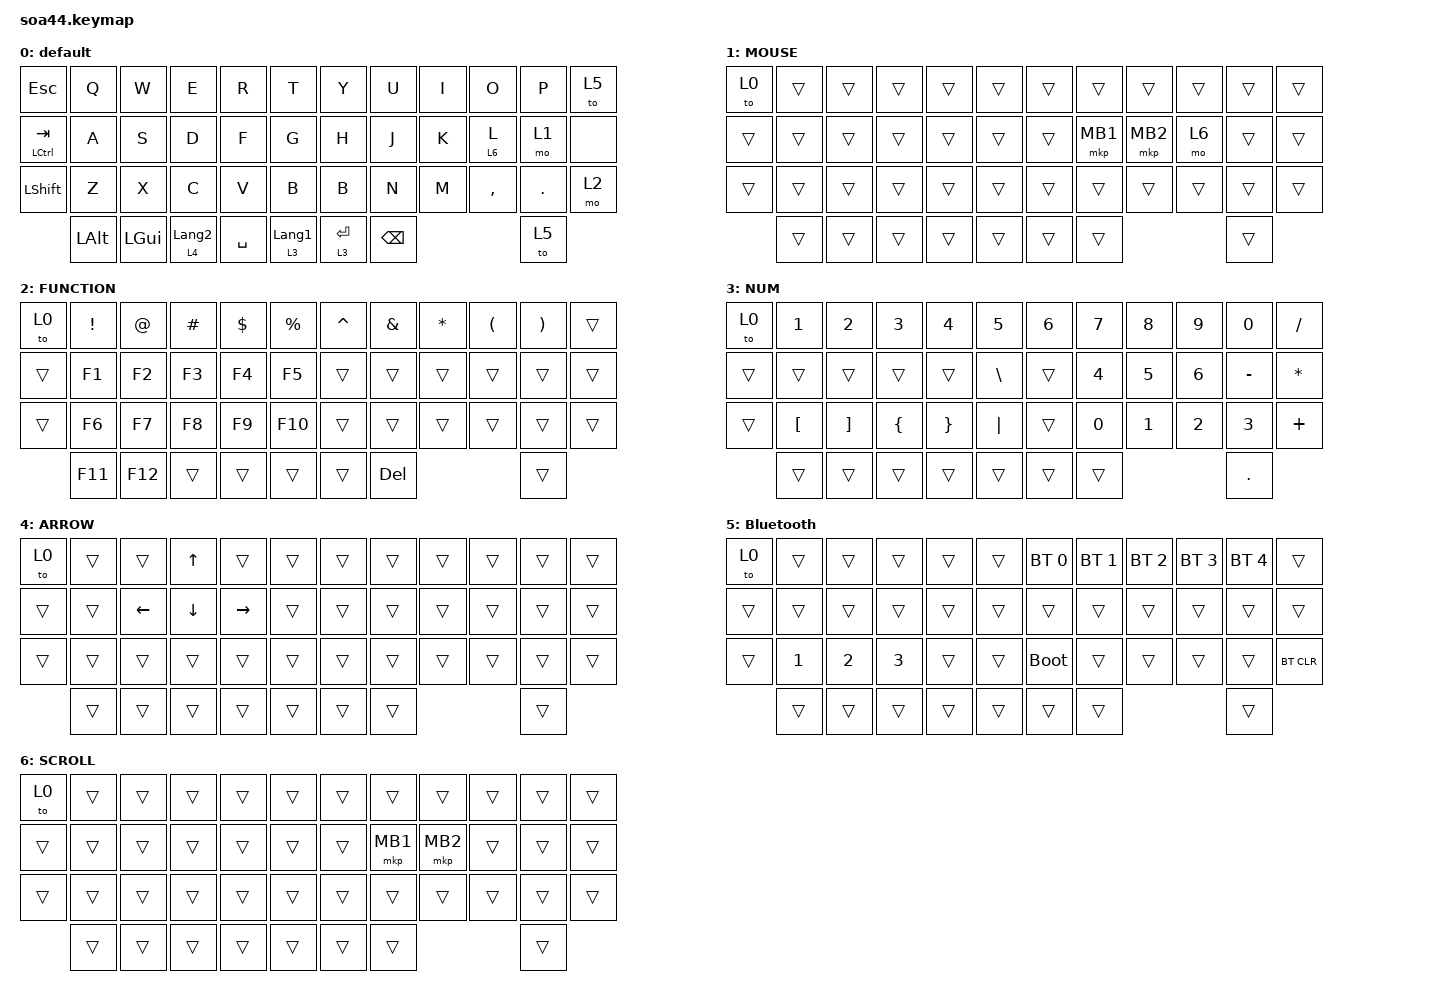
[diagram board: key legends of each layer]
#include <behaviors.dtsi>
#include <dt-bindings/zmk/bt.h>
#include <dt-bindings/zmk/keys.h>
#include <dt-bindings/zmk/pointing.h>

&mt {
    flavor = "balanced";
    quick-tap-ms = <0>;
};

/ {
    combos {
        compatible = "zmk,combos";

        shift_tab {
            bindings = <&kp LS(TAB)>;
            key-positions = <12 13>;
        };
    };

    macros {
        to_layer_0: to_layer_0 {
            compatible = "zmk,behavior-macro-one-param";
            #binding-cells = <1>;
            bindings = <&to 0 &macro_param_1to1 &kp MACRO_PLACEHOLDER>;
            label = "TO_LAYER_0";
        };

        macro_PAR: DPAR {
            compatible = "zmk,behavior-macro";
            #binding-cells = <0>;
            bindings = <&kp LPAR &kp RPAR &kp LEFT>;
            label = "DPAR";
        };

        macro_BKT: DBKT {
            compatible = "zmk,behavior-macro";
            #binding-cells = <0>;
            bindings = <&kp LBKT &kp RBKT &kp LEFT>;
            label = "DBKT";
        };

        macro_BRC: DBRC {
            compatible = "zmk,behavior-macro";
            #binding-cells = <0>;
            bindings = <&kp LBRC &kp RBRC &kp LEFT>;
            label = "DBRC";
        };

        macro_DQT: DDQT {
            compatible = "zmk,behavior-macro";
            #binding-cells = <0>;
            bindings = <&kp DQT &kp DQT &kp LEFT>;
            label = "DDQT";
        };
    };

    behaviors {
        lt_to_layer_0: lt_to_layer_0 {
            compatible = "zmk,behavior-hold-tap";
            label = "LAYER_TAP_TO_0";
            bindings = <&mo>, <&to_layer_0>;

            #binding-cells = <2>;
            tapping-term-ms = <200>;
        };
    };

    keymap {
        compatible = "zmk,keymap";

        default {
            bindings = <
&kp ESCAPE      &kp Q     &kp W     &kp E             &kp R      &kp T             &kp Y        &kp U          &kp I  &kp O      &kp P    &to 5
&mt LCTRL TAB   &kp A     &kp S     &kp D             &kp F      &kp G             &kp H        &kp J          &kp K  &lt 6 L    &mo 1    &none
&kp LEFT_SHIFT  &kp Z     &kp X     &kp C             &kp V      &kp B             &kp B        &kp N          &kp M  &kp COMMA  &kp DOT  &mo 2
                &kp LALT  &kp LGUI  &lt 4 LANGUAGE_2  &kp SPACE  &lt 3 LANGUAGE_1  &lt 3 ENTER  &kp BACKSPACE                    &to 5
            >;
        };

        MOUSE {
            bindings = <
&to 0   &trans  &trans  &trans  &trans  &trans  &trans  &trans    &trans    &trans  &trans  &trans
&trans  &trans  &trans  &trans  &trans  &trans  &trans  &mkp MB1  &mkp MB2  &mo 6   &trans  &trans
&trans  &trans  &trans  &trans  &trans  &trans  &trans  &trans    &trans    &trans  &trans  &trans
        &trans  &trans  &trans  &trans  &trans  &trans  &trans                      &trans
            >;
        };

        FUNCTION {
            bindings = <
&to 0   &kp EXCLAMATION  &kp AT_SIGN  &kp HASH  &kp DOLLAR  &kp PERCENT  &kp CARET  &kp AMPERSAND  &kp ASTERISK  &kp LEFT_PARENTHESIS  &kp RIGHT_PARENTHESIS  &trans
&trans  &kp F1           &kp F2       &kp F3    &kp F4      &kp F5       &trans     &trans         &trans        &trans                &trans                 &trans
&trans  &kp F6           &kp F7       &kp F8    &kp F9      &kp F10      &trans     &trans         &trans        &trans                &trans                 &trans
        &kp F11          &kp F12      &trans    &trans      &trans       &trans     &kp DELETE                                         &trans
            >;
        };

        NUM {
            bindings = <
&to 0   &kp N1            &kp N2             &kp N3          &kp N4           &kp N5         &kp N6  &kp N7  &kp N8  &kp N9  &kp N0      &kp SLASH
&trans  &trans            &trans             &trans          &trans           &kp BACKSLASH  &trans  &kp N4  &kp N5  &kp N6  &kp MINUS   &kp ASTERISK
&trans  &kp LEFT_BRACKET  &kp RIGHT_BRACKET  &kp LEFT_BRACE  &kp RIGHT_BRACE  &kp PIPE       &trans  &kp N0  &kp N1  &kp N2  &kp N3      &kp PLUS
        &trans            &trans             &trans          &trans           &trans         &trans  &trans                  &kp PERIOD
            >;
        };

        ARROW {
            bindings = <
&to 0   &trans  &trans    &kp UP    &trans     &trans  &trans  &trans  &trans  &trans  &trans  &trans
&trans  &trans  &kp LEFT  &kp DOWN  &kp RIGHT  &trans  &trans  &trans  &trans  &trans  &trans  &trans
&trans  &trans  &trans    &trans    &trans     &trans  &trans  &trans  &trans  &trans  &trans  &trans
        &trans  &trans    &trans    &trans     &trans  &trans  &trans                  &trans
            >;
        };

        Bluetooth {
            bindings = <
&to 0   &trans        &trans        &trans        &trans  &trans  &bt BT_SEL 0  &bt BT_SEL 1  &bt BT_SEL 2  &bt BT_SEL 3  &bt BT_SEL 4  &trans
&trans  &trans        &trans        &trans        &trans  &trans  &trans        &trans        &trans        &trans        &trans        &trans
&trans  &kp NUMBER_1  &kp NUMBER_2  &kp NUMBER_3  &trans  &trans  &bootloader   &trans        &trans        &trans        &trans        &bt BT_CLR
        &trans        &trans        &trans        &trans  &trans  &trans        &trans                                    &trans
            >;
        };

        SCROLL {
            bindings = <
&to 0   &trans  &trans  &trans  &trans  &trans  &trans  &trans    &trans    &trans  &trans  &trans
&trans  &trans  &trans  &trans  &trans  &trans  &trans  &mkp MB1  &mkp MB2  &trans  &trans  &trans
&trans  &trans  &trans  &trans  &trans  &trans  &trans  &trans    &trans    &trans  &trans  &trans
        &trans  &trans  &trans  &trans  &trans  &trans  &trans                      &trans
            >;
        };
    };
};
